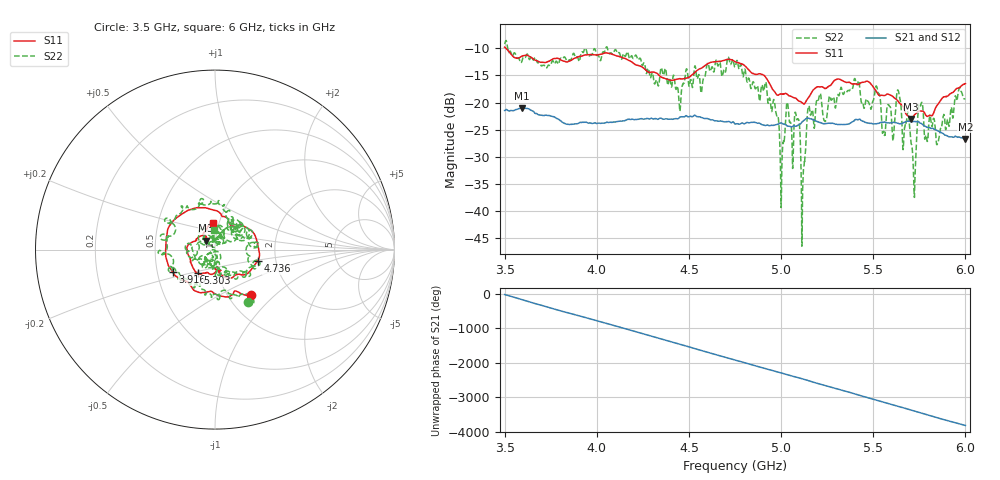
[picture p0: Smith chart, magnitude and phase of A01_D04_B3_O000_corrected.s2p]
! Created with skrf 1.9.0 (http://scikit-rf.org).
# Hz S RI R 50.0
!freq ReS11 ImS11 ReS21 ImS21 ReS12 ImS12 ReS22 ImS22
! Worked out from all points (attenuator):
!   1601 points, 3.5 GHz to 6 GHz, reference 50 ohm
!   highest |S21| = -21.03 dB at 3.592 GHz (marker M1); lowest = -26.7 dB at 6 GHz (marker M2)
!   lowest |S11| = -23.0 dB at 5.705 GHz (marker M3), VSWR 1.15, Z = 45 + j4.53 ohm
!   |S11| at or under -10 dB: 3.507 GHz to end of sweep
!   |S22| runs from -46.5 to -8.6 dB; largest |S21 - S12| = 0.0013
!   S11 on the Smith chart (normalised r, x): 3.5 GHz: 1.26, -0.72; 3.916 GHz: 0.60, -0.16; 4.736 GHz: 1.60, -0.22; 5.303 GHz: 0.80, -0.22; 6 GHz: 0.94, +0.29
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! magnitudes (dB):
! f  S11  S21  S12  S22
! 3.5 GHz  -9.8  -21.5  -21.4  -9.2
! 3.592 GHz  -11.5  -21.0  -21.0  -12.5
! 3.916 GHz  -11.5  -23.7  -23.6  -11.0
! 3.917 GHz  -11.5  -23.7  -23.6  -10.8
! 4.334 GHz  -14.9  -23.1  -23.0  -16.9
! 4.736 GHz  -12.2  -23.6  -23.6  -12.2
! 4.75 GHz  -12.5  -23.9  -23.8  -13.5
! 4.967 GHz  -18.1  -24.1  -24.0  -20.6
! 5.005 GHz  -18.4  -23.8  -23.8  -31.1
! 5.033 GHz  -18.4  -24.3  -24.2  -20.0
! 5.086 GHz  -19.4  -24.3  -24.3  -23.2
! 5.119 GHz  -20.2  -23.4  -23.3  -34.2
! 5.145 GHz  -19.3  -22.9  -22.8  -21.2
! 5.167 GHz  -18.0  -23.1  -23.0  -21.4
! 5.303 GHz  -15.7  -24.0  -23.9  -19.1
! 5.584 GHz  -18.5  -23.7  -23.7  -20.4
! 5.638 GHz  -19.9  -23.8  -23.8  -18.0
! 5.705 GHz  -23.0  -23.5  -23.4  -27.2
! 5.722 GHz  -22.3  -23.5  -23.4  -36.6
! 5.756 GHz  -21.6  -23.8  -23.7  -20.6
! 5.85 GHz  -20.4  -25.2  -25.1  -27.4
! 6 GHz  -16.5  -26.7  -26.6  -19.3
